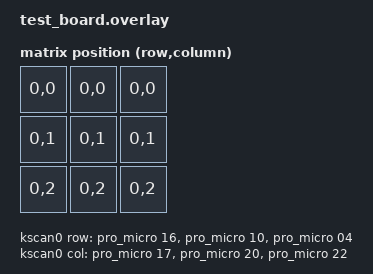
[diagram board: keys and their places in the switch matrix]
#include <dt-bindings/zmk/matrix_transform.h>

/ {
    chosen {
        zmk,kscan = &kscan0;
        zmk,matrix_transform = &default_transform;
    };

    kscan0: kscan_0 {
        compatible = "zmk,kscan-gpio-matrix";
        diode-direction = "col2row";
        wakeup-source;

        col-gpios
            = <&pro_micro 17 GPIO_ACTIVE_HIGH>
            , <&pro_micro 20 GPIO_ACTIVE_HIGH>
            , <&pro_micro 22 GPIO_ACTIVE_HIGH>
            ;

        row-gpios
            = <&pro_micro 16 (GPIO_ACTIVE_HIGH | GPIO_PULL_DOWN)>
            , <&pro_micro 10 (GPIO_ACTIVE_HIGH | GPIO_PULL_DOWN)>
            , <&pro_micro 04 (GPIO_ACTIVE_HIGH | GPIO_PULL_DOWN)>
            ;
    };
    default_transform: keymap_transform_0 {
        compatible = "zmk,matrix-transform";
        columns = <8>;
        rows = <8>;
        map = <
          RC(0,0) RC(0,0) RC(0,0)
          RC(0,1) RC(0,1) RC(0,1)
          RC(0,2) RC(0,2) RC(0,2)
        >;
    };
};
